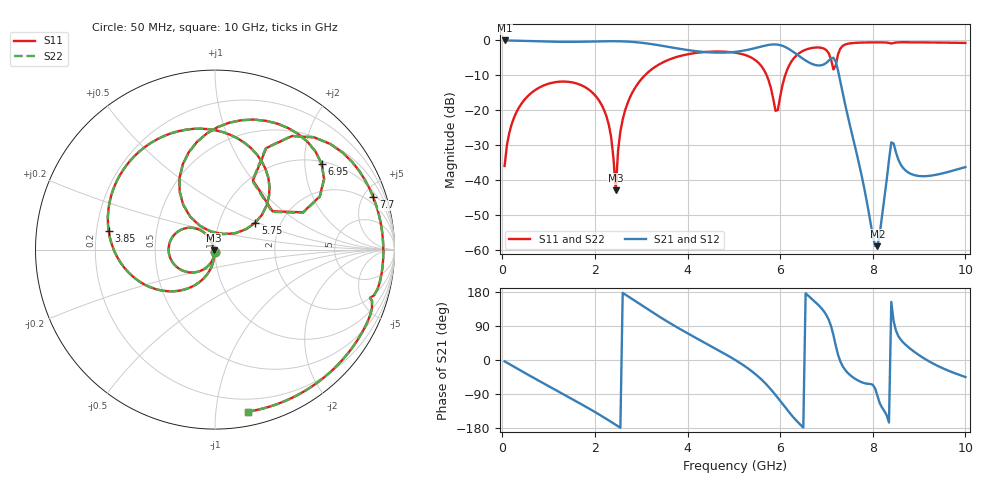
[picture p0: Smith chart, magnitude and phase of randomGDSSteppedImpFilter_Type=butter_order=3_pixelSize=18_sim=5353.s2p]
! freq	dB(S11)	phase(S11)	dB(S12)	phase(S12)
!  dB(S21)	phase(S21)	dB(S22)	phase(S22)
!S-par simulation data
#  GHz  S  DB  R 50
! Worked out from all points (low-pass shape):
!   200 points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, 50 MHz to 10 GHz, reference 50 ohm
!   highest |S21| = -0.01 dB at 50 MHz (marker M1); lowest = -58.8 dB at 8.1 GHz (marker M2)
!   |S21| within 3 dB of the highest: start of sweep to 4.146 GHz; 5.169 GHz to 6.255 GHz (1.086 GHz wide, 19 % of centre)
!   lowest |S11| = -42.9 dB at 2.45 GHz (marker M3), VSWR 1.01, Z = 49.4 - j0.319 ohm
!   |S11| at or under -10 dB: start of sweep to 3.078 GHz; 5.709 GHz to 6.108 GHz (399.2 MHz wide, 6.76 % of centre)
!   |S22| runs from -43.2 to -0.5 dB; largest |S21 - S12| = 0
!   S11 on the Smith chart (normalised r, x): 50 MHz: 1.00, -0.03; 3.85 GHz: 0.25, +0.08; 5.75 GHz: 1.49, +0.48; 6.95 GHz: 1.06, +2.43; 7.7 GHz: 1.38, +5.89; 10 GHz: 0.10, -1.22
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0.05  -35.92 -93.0  -0.01 -3.6  -0.01 -3.6  -35.92 -93.0
0.2  -24.06 -104.1  -0.04 -14.2  -0.04 -14.2  -24.06 -104.1
0.55  -15.94 -128.8  -0.17 -38.4  -0.17 -38.4  -15.94 -128.8
1.75  -13.09 150.7  -0.37 -119.5  -0.37 -119.5  -13.09 150.6
2.25  -21.74 117.5  -0.23 -155.6  -0.23 -155.6  -21.74 117.3
2.45  -42.87 -153.3  -0.22 -171.0  -0.22 -171.0  -43.24 -152.4
2.55  -26.03 -97.3  -0.25 -178.9  -0.25 -178.9  -26.03 -96.9
2.7  -18.11 -104.8  -0.33 169.2  -0.33 169.2  -18.11 -104.6
3.4  -6.74 -157.6  -1.42 113.7  -1.42 113.7  -6.74 -157.6
3.85  -4.42 170.1  -2.44 80.9  -2.44 80.9  -4.42 170.1
5.05  -3.55 89.6  -3.23 -1.4  -3.23 -1.4  -3.55 89.7
5.75  -11.36 33.7  -1.29 -70.6  -1.29 -70.6  -11.35 33.9
5.95  -19.91 101.6  -1.21 -100.1  -1.21 -100.1  -19.81 101.3
6.2  -7.02 116.3  -2.53 -139.0  -2.53 -139.0  -7.01 116.2
6.7  -2.13 63.8  -6.77 159.4  -6.77 159.4  -2.13 63.7
6.95  -2.36 38.9  -6.81 127.5  -6.81 127.5  -2.36 38.7
7.2  -7.14 61.2  -6.08 38.2  -6.08 38.2  -7.21 61.5
7.35  -1.58 48.6  -15.01 -16.4  -15.01 -16.4  -1.58 48.7
7.7  -0.64 18.3  -35.06 -55.2  -35.06 -55.2  -0.64 18.4
8.1  -0.55 -3.7  -58.83 -94.5  -58.83 -94.5  -0.55 -3.6
8.35  -0.71 -16.1  -34.24 -164.9  -34.24 -164.9  -0.70 -16.0
10  -0.71 -78.6  -36.21 -44.9  -36.21 -44.9  -0.71 -78.5
